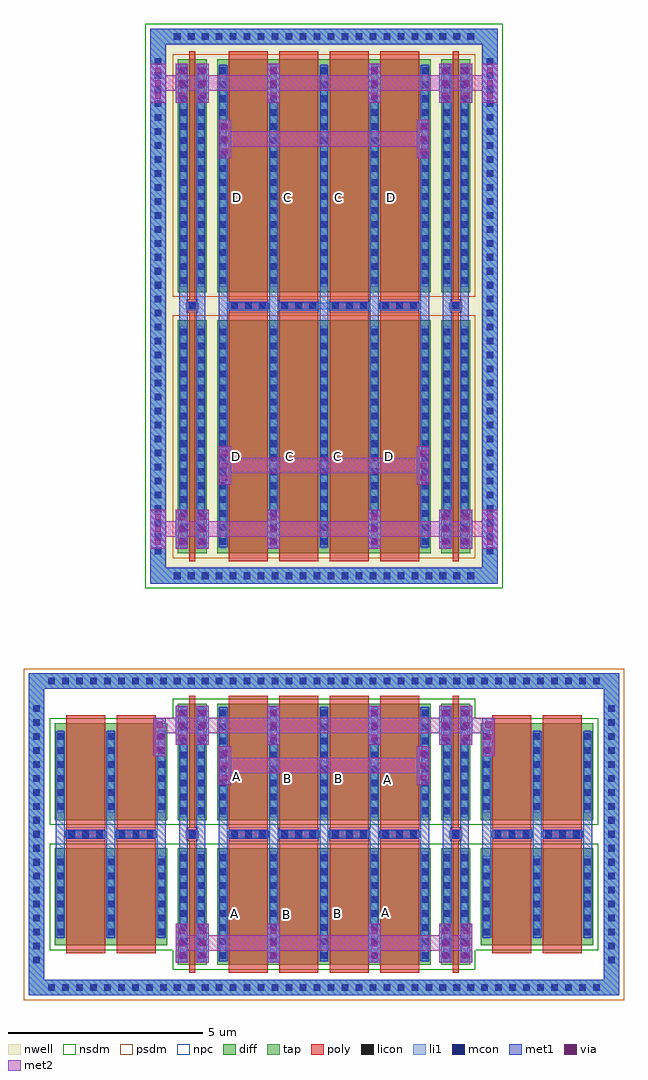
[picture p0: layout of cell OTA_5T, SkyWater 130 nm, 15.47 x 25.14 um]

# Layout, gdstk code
import gdstk
lib = gdstk.Library(unit=1e-6, precision=1e-09)
def R(c, l, rs):  # rectangles x0, y0, x1, y1
    for r in rs: c.add(gdstk.rectangle(r[:2], r[2:], *l))
def A(c, l, x, y, w, h, nx, ny, dx, dy):  # array of equal rectangles
    R(c, l, [(x+i*dx, y+j*dy, x+i*dx+w, y+j*dy+h) for i in range(nx) for j in range(ny)])
def P(c, l, *ps):  # polygons
    for p in ps: c.add(gdstk.Polygon(p, *l))
nwell = (64, 20)
diff = (65, 20)
tap = (65, 44)
poly = (66, 20)
licon = (66, 44)
li1 = (67, 20)
mcon = (67, 44)
met1 = (68, 20)
via = (68, 44)
met2 = (69, 20)
nsdm = (93, 44)
psdm = (94, 20)
npc = (95, 20)

pfet_3 = lib.new_cell('pfet$3')
R(pfet_3, nwell, [(-0.305,-0.72,1.905,6.38)])
R(pfet_3, diff, [(0,0,1.6,6)])
R(pfet_3, poly, [(0.3,-0.53,1.3,-0.2), (0.3,-0.2,1.3,6.2)])
A(pfet_3, licon, 0.355, -0.45, 0.17, 0.17, 3, 1, 0.36, 0)
A(pfet_3, licon, 0.065, 0.215, 0.17, 0.17, 1, 16, 0, 0.36)
A(pfet_3, licon, 1.365, 0.215, 0.17, 0.17, 1, 16, 0, 0.36)
R(pfet_3, li1, [(0.275,-0.45,1.325,-0.28), (0.065,0.135,0.235,5.865), (1.365,0.135,1.535,5.865)])
A(pfet_3, mcon, 0.355, -0.45, 0.17, 0.17, 3, 1, 0.36, 0)
A(pfet_3, mcon, 0.065, 0.215, 0.17, 0.17, 1, 16, 0, 0.36)
A(pfet_3, mcon, 1.365, 0.215, 0.17, 0.17, 1, 16, 0, 0.36)
R(pfet_3, met1, [(0.295,-0.48,1.305,-0.25), (0.035,0.155,0.265,5.845), (1.335,0.155,1.565,5.845)])
R(pfet_3, psdm, [(-0.125,-0.125,1.725,6.125)])
R(pfet_3, npc, [(0.29,-0.54,1.31,-0.19)])

pfet_2 = lib.new_cell('pfet$2')
R(pfet_2, nwell, [(-0.305,-0.72,1.055,6.38)])
R(pfet_2, diff, [(0,0,0.75,6)])
R(pfet_2, poly, [(0.24,-0.53,0.51,-0.2), (0.3,-0.2,0.45,6.2)])
A(pfet_2, licon, 0.065, 0.215, 0.17, 0.17, 1, 16, 0, 0.36)
A(pfet_2, licon, 0.515, 0.215, 0.17, 0.17, 1, 16, 0, 0.36)
R(pfet_2, licon, [(0.29,-0.45,0.46,-0.28)])
R(pfet_2, li1, [(0.21,-0.45,0.54,-0.28), (0.065,0.135,0.235,5.865), (0.515,0.135,0.685,5.865)])
A(pfet_2, mcon, 0.065, 0.215, 0.17, 0.17, 1, 16, 0, 0.36)
A(pfet_2, mcon, 0.515, 0.215, 0.17, 0.17, 1, 16, 0, 0.36)
R(pfet_2, mcon, [(0.29,-0.45,0.46,-0.28)])
R(pfet_2, met1, [(0.19,-0.48,0.56,-0.25), (0.035,0.155,0.265,5.845), (0.485,0.155,0.715,5.845)])
R(pfet_2, psdm, [(-0.125,-0.125,0.875,6.125)])
R(pfet_2, npc, [(0.23,-0.54,0.52,-0.19)])

nfet_3 = lib.new_cell('nfet$3')
R(nfet_3, diff, [(0,0,1.6,3)])
R(nfet_3, poly, [(0.3,-0.53,1.3,-0.2), (0.3,-0.2,1.3,3.2)])
A(nfet_3, licon, 0.355, -0.45, 0.17, 0.17, 3, 1, 0.36, 0)
A(nfet_3, licon, 0.065, 0.155, 0.17, 0.17, 1, 8, 0, 0.36)
A(nfet_3, licon, 1.365, 0.155, 0.17, 0.17, 1, 8, 0, 0.36)
R(nfet_3, li1, [(0.275,-0.45,1.325,-0.28), (0.065,0.075,0.235,2.925), (1.365,0.075,1.535,2.925)])
A(nfet_3, mcon, 0.355, -0.45, 0.17, 0.17, 3, 1, 0.36, 0)
A(nfet_3, mcon, 0.065, 0.155, 0.17, 0.17, 1, 8, 0, 0.36)
A(nfet_3, mcon, 1.365, 0.155, 0.17, 0.17, 1, 8, 0, 0.36)
R(nfet_3, met1, [(0.295,-0.48,1.305,-0.25), (0.035,0.095,0.265,2.905), (1.335,0.095,1.565,2.905)])
R(nfet_3, nsdm, [(-0.125,-0.125,1.725,3.125)])
R(nfet_3, npc, [(0.29,-0.54,1.31,-0.19)])

nfet_2 = lib.new_cell('nfet$2')
R(nfet_2, diff, [(0,0,0.75,3)])
R(nfet_2, poly, [(0.24,-0.53,0.51,-0.2), (0.3,-0.2,0.45,3.2)])
A(nfet_2, licon, 0.065, 0.155, 0.17, 0.17, 1, 8, 0, 0.36)
A(nfet_2, licon, 0.515, 0.155, 0.17, 0.17, 1, 8, 0, 0.36)
R(nfet_2, licon, [(0.29,-0.45,0.46,-0.28)])
R(nfet_2, li1, [(0.21,-0.45,0.54,-0.28), (0.065,0.075,0.235,2.925), (0.515,0.075,0.685,2.925)])
A(nfet_2, mcon, 0.065, 0.155, 0.17, 0.17, 1, 8, 0, 0.36)
A(nfet_2, mcon, 0.515, 0.155, 0.17, 0.17, 1, 8, 0, 0.36)
R(nfet_2, mcon, [(0.29,-0.45,0.46,-0.28)])
R(nfet_2, met1, [(0.19,-0.48,0.56,-0.25), (0.035,0.095,0.265,2.905), (0.485,0.095,0.715,2.905)])
R(nfet_2, nsdm, [(-0.125,-0.125,0.875,3.125)])
R(nfet_2, npc, [(0.23,-0.54,0.52,-0.19)])

nfet_1 = lib.new_cell('nfet$1')
R(nfet_1, diff, [(0,0,0.75,3)])
R(nfet_1, poly, [(0.3,-0.2,0.45,3.2), (0.24,3.2,0.51,3.53)])
A(nfet_1, licon, 0.065, 0.155, 0.17, 0.17, 1, 8, 0, 0.36)
A(nfet_1, licon, 0.515, 0.155, 0.17, 0.17, 1, 8, 0, 0.36)
R(nfet_1, licon, [(0.29,3.28,0.46,3.45)])
R(nfet_1, li1, [(0.065,0.075,0.235,2.925), (0.515,0.075,0.685,2.925), (0.21,3.28,0.54,3.45)])
A(nfet_1, mcon, 0.065, 0.155, 0.17, 0.17, 1, 8, 0, 0.36)
A(nfet_1, mcon, 0.515, 0.155, 0.17, 0.17, 1, 8, 0, 0.36)
R(nfet_1, mcon, [(0.29,3.28,0.46,3.45)])
R(nfet_1, met1, [(0.035,0.095,0.265,2.905), (0.485,0.095,0.715,2.905), (0.19,3.25,0.56,3.48)])
R(nfet_1, nsdm, [(-0.125,-0.125,0.875,3.125)])
R(nfet_1, npc, [(0.23,3.19,0.52,3.54)])

nfet = lib.new_cell('nfet')
R(nfet, diff, [(0,0,1.6,3)])
R(nfet, poly, [(0.3,-0.2,1.3,3.2), (0.3,3.2,1.3,3.53)])
A(nfet, licon, 0.065, 0.155, 0.17, 0.17, 1, 8, 0, 0.36)
A(nfet, licon, 1.365, 0.155, 0.17, 0.17, 1, 8, 0, 0.36)
A(nfet, licon, 0.355, 3.28, 0.17, 0.17, 3, 1, 0.36, 0)
R(nfet, li1, [(0.065,0.075,0.235,2.925), (1.365,0.075,1.535,2.925), (0.275,3.28,1.325,3.45)])
A(nfet, mcon, 0.065, 0.155, 0.17, 0.17, 1, 8, 0, 0.36)
A(nfet, mcon, 1.365, 0.155, 0.17, 0.17, 1, 8, 0, 0.36)
A(nfet, mcon, 0.355, 3.28, 0.17, 0.17, 3, 1, 0.36, 0)
R(nfet, met1, [(0.035,0.095,0.265,2.905), (1.335,0.095,1.565,2.905), (0.295,3.25,1.305,3.48)])
R(nfet, nsdm, [(-0.125,-0.125,1.725,3.125)])
R(nfet, npc, [(0.29,3.19,1.31,3.54)])

nfet_4 = lib.new_cell('nfet$4')
R(nfet_4, diff, [(0,0,1.6,2.5)])
R(nfet_4, poly, [(0.3,-0.53,1.3,-0.2), (0.3,-0.2,1.3,2.7)])
A(nfet_4, licon, 0.355, -0.45, 0.17, 0.17, 3, 1, 0.36, 0)
A(nfet_4, licon, 0.065, 0.265, 0.17, 0.17, 1, 6, 0, 0.36)
A(nfet_4, licon, 1.365, 0.265, 0.17, 0.17, 1, 6, 0, 0.36)
R(nfet_4, li1, [(0.275,-0.45,1.325,-0.28), (0.065,0.185,0.235,2.315), (1.365,0.185,1.535,2.315)])
A(nfet_4, mcon, 0.355, -0.45, 0.17, 0.17, 3, 1, 0.36, 0)
A(nfet_4, mcon, 0.065, 0.265, 0.17, 0.17, 1, 6, 0, 0.36)
A(nfet_4, mcon, 1.365, 0.265, 0.17, 0.17, 1, 6, 0, 0.36)
R(nfet_4, met1, [(0.295,-0.48,1.305,-0.25), (0.035,0.205,0.265,2.295), (1.335,0.205,1.565,2.295)])
R(nfet_4, nsdm, [(-0.125,-0.125,1.725,2.625)])
R(nfet_4, npc, [(0.29,-0.54,1.31,-0.19)])

pfet_1 = lib.new_cell('pfet$1')
R(pfet_1, nwell, [(-0.305,-0.38,1.055,6.72)])
R(pfet_1, diff, [(0,0,0.75,6)])
R(pfet_1, poly, [(0.3,-0.2,0.45,6.2), (0.24,6.2,0.51,6.53)])
A(pfet_1, licon, 0.065, 0.215, 0.17, 0.17, 1, 16, 0, 0.36)
A(pfet_1, licon, 0.515, 0.215, 0.17, 0.17, 1, 16, 0, 0.36)
R(pfet_1, licon, [(0.29,6.28,0.46,6.45)])
R(pfet_1, li1, [(0.065,0.135,0.235,5.865), (0.515,0.135,0.685,5.865), (0.21,6.28,0.54,6.45)])
A(pfet_1, mcon, 0.065, 0.215, 0.17, 0.17, 1, 16, 0, 0.36)
A(pfet_1, mcon, 0.515, 0.215, 0.17, 0.17, 1, 16, 0, 0.36)
R(pfet_1, mcon, [(0.29,6.28,0.46,6.45)])
R(pfet_1, met1, [(0.035,0.155,0.265,5.845), (0.485,0.155,0.715,5.845), (0.19,6.25,0.56,6.48)])
R(pfet_1, psdm, [(-0.125,-0.125,0.875,6.125)])
R(pfet_1, npc, [(0.23,6.19,0.52,6.54)])

pfet = lib.new_cell('pfet')
R(pfet, nwell, [(-0.305,-0.38,1.905,6.72)])
R(pfet, diff, [(0,0,1.6,6)])
R(pfet, poly, [(0.3,-0.2,1.3,6.2), (0.3,6.2,1.3,6.53)])
A(pfet, licon, 0.065, 0.215, 0.17, 0.17, 1, 16, 0, 0.36)
A(pfet, licon, 1.365, 0.215, 0.17, 0.17, 1, 16, 0, 0.36)
A(pfet, licon, 0.355, 6.28, 0.17, 0.17, 3, 1, 0.36, 0)
R(pfet, li1, [(0.065,0.135,0.235,5.865), (1.365,0.135,1.535,5.865), (0.275,6.28,1.325,6.45)])
A(pfet, mcon, 0.065, 0.215, 0.17, 0.17, 1, 16, 0, 0.36)
A(pfet, mcon, 1.365, 0.215, 0.17, 0.17, 1, 16, 0, 0.36)
A(pfet, mcon, 0.355, 6.28, 0.17, 0.17, 3, 1, 0.36, 0)
R(pfet, met1, [(0.035,0.155,0.265,5.845), (1.335,0.155,1.565,5.845), (0.295,6.25,1.305,6.48)])
R(pfet, psdm, [(-0.125,-0.125,1.725,6.125)])
R(pfet, npc, [(0.29,6.19,1.31,6.54)])

guard_ring_gen = lib.new_cell('guard_ring_gen')
P(guard_ring_gen, tap, [(-0.4,-0.4),(-0.4,13.49),(0,13.49),(0,0),(8.15,0),(8.15,13.49),(-0.4,13.49),(-0.4,13.89),(8.55,13.89),(8.55,-0.4)])
A(guard_ring_gen, licon, 0.21, -0.285, 0.17, 0.17, 22, 2, 0.36, 13.89)
A(guard_ring_gen, licon, -0.285, 0.36, 0.17, 0.17, 1, 36, 0, 0.36)
A(guard_ring_gen, licon, 8.265, 0.36, 0.17, 0.17, 1, 36, 0, 0.36)
P(guard_ring_gen, li1, [(-0.4,-0.4),(-0.4,13.49),(0,13.49),(0,0),(8.15,0),(8.15,13.49),(-0.4,13.49),(-0.4,13.89),(8.55,13.89),(8.55,-0.4)])
A(guard_ring_gen, mcon, 0.21, -0.285, 0.17, 0.17, 22, 2, 0.36, 13.89)
A(guard_ring_gen, mcon, -0.285, 0.36, 0.17, 0.17, 1, 36, 0, 0.36)
A(guard_ring_gen, mcon, 8.265, 0.36, 0.17, 0.17, 1, 36, 0, 0.36)
P(guard_ring_gen, met1, [(-0.4,-0.4),(-0.4,13.49),(0,13.49),(0,0),(8.15,0),(8.15,13.49),(-0.4,13.49),(-0.4,13.89),(8.55,13.89),(8.55,-0.4)])
P(guard_ring_gen, nsdm, [(-0.525,-0.525),(-0.525,13.365),(0.125,13.365),(0.125,0.125),(8.025,0.125),(8.025,13.365),(-0.525,13.365),(-0.525,14.015),(8.675,14.015),(8.675,-0.525)])

nfet_5 = lib.new_cell('nfet$5')
R(nfet_5, diff, [(0,0,1.6,2.5)])
R(nfet_5, poly, [(0.3,-0.2,1.3,2.7), (0.3,2.7,1.3,3.03)])
A(nfet_5, licon, 0.065, 0.265, 0.17, 0.17, 1, 6, 0, 0.36)
A(nfet_5, licon, 1.365, 0.265, 0.17, 0.17, 1, 6, 0, 0.36)
A(nfet_5, licon, 0.355, 2.78, 0.17, 0.17, 3, 1, 0.36, 0)
R(nfet_5, li1, [(0.065,0.185,0.235,2.315), (1.365,0.185,1.535,2.315), (0.275,2.78,1.325,2.95)])
A(nfet_5, mcon, 0.065, 0.265, 0.17, 0.17, 1, 6, 0, 0.36)
A(nfet_5, mcon, 1.365, 0.265, 0.17, 0.17, 1, 6, 0, 0.36)
A(nfet_5, mcon, 0.355, 2.78, 0.17, 0.17, 3, 1, 0.36, 0)
R(nfet_5, met1, [(0.035,0.205,0.265,2.295), (1.335,0.205,1.565,2.295), (0.295,2.75,1.305,2.98)])
R(nfet_5, nsdm, [(-0.125,-0.125,1.725,2.625)])
R(nfet_5, npc, [(0.29,2.69,1.31,3.04)])

guard_ring_gen_3 = lib.new_cell('guard_ring_gen$3')
P(guard_ring_gen_3, tap, [(-0.4,-0.4),(-0.4,7.49),(0,7.49),(0,0),(14.42,0),(14.42,7.49),(-0.4,7.49),(-0.4,7.89),(14.82,7.89),(14.82,-0.4)])
A(guard_ring_gen_3, licon, 0.105, -0.285, 0.17, 0.17, 40, 2, 0.36, 7.89)
A(guard_ring_gen_3, licon, -0.285, 0.42, 0.17, 0.17, 1, 19, 0, 0.36)
A(guard_ring_gen_3, licon, 14.535, 0.42, 0.17, 0.17, 1, 19, 0, 0.36)
P(guard_ring_gen_3, li1, [(-0.4,-0.4),(-0.4,7.49),(0,7.49),(0,0),(14.42,0),(14.42,7.49),(-0.4,7.49),(-0.4,7.89),(14.82,7.89),(14.82,-0.4)])
A(guard_ring_gen_3, mcon, 0.105, -0.285, 0.17, 0.17, 40, 2, 0.36, 7.89)
A(guard_ring_gen_3, mcon, -0.285, 0.42, 0.17, 0.17, 1, 19, 0, 0.36)
A(guard_ring_gen_3, mcon, 14.535, 0.42, 0.17, 0.17, 1, 19, 0, 0.36)
P(guard_ring_gen_3, met1, [(-0.4,-0.4),(-0.4,7.49),(0,7.49),(0,0),(14.42,0),(14.42,7.49),(-0.4,7.49),(-0.4,7.89),(14.82,7.89),(14.82,-0.4)])
P(guard_ring_gen_3, psdm, [(-0.525,-0.525),(-0.525,7.365),(0.125,7.365),(0.125,0.125),(14.295,0.125),(14.295,7.365),(-0.525,7.365),(-0.525,8.015),(14.945,8.015),(14.945,-0.525)])

vias_gen = lib.new_cell('vias_gen')
R(vias_gen, met1, [(0,0,0.32,1)])
A(vias_gen, via, 0.085, 0.105, 0.15, 0.15, 1, 3, 0, 0.32)
R(vias_gen, met2, [(0,0,0.32,1)])

vias_gen_1 = lib.new_cell('vias_gen$1')
R(vias_gen_1, met1, [(0,0,0.4,1)])
A(vias_gen_1, via, 0.125, 0.105, 0.15, 0.15, 1, 3, 0, 0.32)
R(vias_gen_1, met2, [(0,0,0.4,1)])

ota_5t = lib.new_cell('OTA_5T')
R(ota_5t, nsdm, [(-3.955,2.425,3.945,15.665)])
R(ota_5t, psdm, [(-7.09,-8.18,7.08,-0.94)])
ota_5t.add(gdstk.FlexPath([(-2.605,8.525),(-2.605,9.565)], 0.23, ends="flush", simple_path=True, layer=68, datatype=20))  # met1
ota_5t.add(gdstk.FlexPath([(-0.005,8.525),(-0.005,9.565)], 0.23, ends="flush", simple_path=True, layer=68, datatype=20))  # met1
ota_5t.add(gdstk.FlexPath([(2.595,8.525),(2.595,9.565)], 0.23, ends="flush", simple_path=True, layer=68, datatype=20))  # met1
ota_5t.add(gdstk.FlexPath([(-1.305,9.565),(-1.305,8.525)], 0.23, ends="flush", simple_path=True, layer=68, datatype=20))  # met1
ota_5t.add(gdstk.FlexPath([(1.295,9.565),(1.295,8.525)], 0.23, ends="flush", simple_path=True, layer=68, datatype=20))  # met1
ota_5t.add(gdstk.FlexPath([(-3.625,-4.1),(-3.625,-5.02)], 0.23, ends="flush", simple_path=True, layer=68, datatype=20))  # met1
ota_5t.add(gdstk.FlexPath([(-3.175,-4.1),(-3.175,-5.02)], 0.23, ends="flush", simple_path=True, layer=68, datatype=20))  # met1
ota_5t.add(gdstk.FlexPath([(-2.605,-4.1),(-2.605,-5.02)], 0.23, ends="flush", simple_path=True, layer=68, datatype=20))  # met1
ota_5t.add(gdstk.FlexPath([(-1.305,-4.1),(-1.305,-5.02)], 0.23, ends="flush", simple_path=True, layer=68, datatype=20))  # met1
ota_5t.add(gdstk.FlexPath([(-0.005,-4.1),(-0.005,-5.02)], 0.23, ends="flush", simple_path=True, layer=68, datatype=20))  # met1
ota_5t.add(gdstk.FlexPath([(1.295,-4.1),(1.295,-5.02)], 0.23, ends="flush", simple_path=True, layer=68, datatype=20))  # met1
ota_5t.add(gdstk.FlexPath([(2.595,-4.1),(2.595,-5.02)], 0.23, ends="flush", simple_path=True, layer=68, datatype=20))  # met1
ota_5t.add(gdstk.FlexPath([(4.185,-3.99),(4.185,-5.13)], 0.23, ends="flush", simple_path=True, layer=68, datatype=20))  # met1
ota_5t.add(gdstk.FlexPath([(5.485,-3.99),(5.485,-5.13)], 0.23, ends="flush", simple_path=True, layer=68, datatype=20))  # met1
ota_5t.add(gdstk.FlexPath([(6.785,-3.99),(6.785,-5.13)], 0.23, ends="flush", simple_path=True, layer=68, datatype=20))  # met1
ota_5t.add(gdstk.FlexPath([(3.165,-4.1),(3.165,-5.02)], 0.23, ends="flush", simple_path=True, layer=68, datatype=20))  # met1
ota_5t.add(gdstk.FlexPath([(3.615,-4.1),(3.615,-5.02)], 0.23, ends="flush", simple_path=True, layer=68, datatype=20))  # met1
ota_5t.add(gdstk.FlexPath([(-4.195,-3.99),(-4.195,-5.13)], 0.23, ends="flush", simple_path=True, layer=68, datatype=20))  # met1
ota_5t.add(gdstk.FlexPath([(-5.495,-3.99),(-5.495,-5.13)], 0.23, ends="flush", simple_path=True, layer=68, datatype=20))  # met1
ota_5t.add(gdstk.FlexPath([(-6.795,-3.99),(-6.795,-5.13)], 0.23, ends="flush", simple_path=True, layer=68, datatype=20))  # met1
ota_5t.add(gdstk.FlexPath([(3.165,8.525),(3.165,9.565)], 0.23, ends="flush", simple_path=True, layer=68, datatype=20))  # met1
ota_5t.add(gdstk.FlexPath([(3.615,8.525),(3.615,9.565)], 0.23, ends="flush", simple_path=True, layer=68, datatype=20))  # met1
ota_5t.add(gdstk.FlexPath([(-3.175,8.525),(-3.175,9.565)], 0.23, ends="flush", simple_path=True, layer=68, datatype=20))  # met1
ota_5t.add(gdstk.FlexPath([(-3.625,9.565),(-3.625,8.525)], 0.23, ends="flush", simple_path=True, layer=68, datatype=20))  # met1
ota_5t.add(gdstk.FlexPath([(-4.48,14.79),(4.47,14.79)], 0.4, ends="flush", simple_path=True, layer=69, datatype=20))  # met2
ota_5t.add(gdstk.FlexPath([(-4.48,3.3),(4.47,3.3)], 0.4, ends="flush", simple_path=True, layer=69, datatype=20))  # met2
ota_5t.add(gdstk.FlexPath([(-4.08,-1.755),(4.07,-1.755)], 0.4, ends="flush", simple_path=True, layer=69, datatype=20))  # met2
ota_5t.add(gdstk.FlexPath([(-3.83,-7.365),(3.82,-7.365)], 0.4, ends="flush", simple_path=True, layer=69, datatype=20))  # met2
ota_5t.add(gdstk.FlexPath([(-2.4,13.35),(2.39,13.35)], 0.4, ends="flush", simple_path=True, layer=69, datatype=20))  # met2
ota_5t.add(gdstk.FlexPath([(-2.4,4.94),(2.39,4.94)], 0.4, ends="flush", simple_path=True, layer=69, datatype=20))  # met2
ota_5t.add(gdstk.FlexPath([(-2.4,-2.79),(2.39,-2.79)], 0.4, ends="flush", simple_path=True, layer=69, datatype=20))  # met2
ota_5t.add(gdstk.FlexPath([(-0.13,9.045),(0.12,9.045)], 0.17, ends="flush", simple_path=True, layer=67, datatype=20))  # li1
ota_5t.add(gdstk.Reference(pfet_3, (-1.455,9.41)))
ota_5t.add(gdstk.Reference(pfet_2, (-3.775,9.41)))
ota_5t.add(gdstk.Reference(pfet_3, (-0.155,9.41)))
ota_5t.add(gdstk.Reference(nfet_3, (-0.155,-4.195)))
ota_5t.add(gdstk.Reference(nfet_3, (1.145,-4.195)))
ota_5t.add(gdstk.Reference(nfet_3, (-2.755,-4.195)))
ota_5t.add(gdstk.Reference(nfet_3, (-1.455,-4.195)))
ota_5t.add(gdstk.Reference(nfet_2, (-3.775,-4.195)))
ota_5t.add(gdstk.Reference(nfet_1, (-3.775,-7.925)))
ota_5t.add(gdstk.Reference(nfet_1, (3.015,-7.925)))
ota_5t.add(gdstk.Reference(nfet, (-1.455,-7.925)))
ota_5t.add(gdstk.Reference(nfet, (-2.755,-7.925)))
ota_5t.add(gdstk.Reference(nfet, (1.145,-7.925)))
ota_5t.add(gdstk.Reference(nfet, (-0.155,-7.925)))
ota_5t.add(gdstk.Reference(nfet_4, (-6.945,-4.195)))
ota_5t.add(gdstk.Reference(nfet_4, (-5.645,-4.195)))
ota_5t.add(gdstk.Reference(pfet_2, (3.015,9.41)))
ota_5t.add(gdstk.Reference(pfet_3, (-2.755,9.41)))
ota_5t.add(gdstk.Reference(pfet_1, (-3.775,2.68)))
ota_5t.add(gdstk.Reference(pfet, (-2.755,2.68)))
ota_5t.add(gdstk.Reference(pfet_1, (3.015,2.68)))
ota_5t.add(gdstk.Reference(pfet, (1.145,2.68)))
ota_5t.add(gdstk.Reference(pfet, (-1.455,2.68)))
ota_5t.add(gdstk.Reference(pfet, (-0.155,2.68)))
ota_5t.add(gdstk.Reference(nfet_2, (3.015,-4.195)))
ota_5t.add(gdstk.Reference(guard_ring_gen, (-4.08,2.3)))
ota_5t.add(gdstk.Reference(nfet_4, (4.035,-4.195)))
ota_5t.add(gdstk.Reference(nfet_4, (5.335,-4.195)))
ota_5t.add(gdstk.Reference(nfet_5, (4.035,-7.425)))
ota_5t.add(gdstk.Reference(nfet_5, (5.335,-7.425)))
ota_5t.add(gdstk.Reference(nfet_5, (-5.645,-7.425)))
ota_5t.add(gdstk.Reference(nfet_5, (-6.945,-7.425)))
ota_5t.add(gdstk.Reference(guard_ring_gen_3, (-7.215,-8.305)))
ota_5t.add(gdstk.Reference(pfet_3, (1.145,9.41)))
ota_5t.add(gdstk.Reference(vias_gen, (1.135,14.29)))
ota_5t.add(gdstk.Reference(vias_gen, (-1.465,14.29)))
ota_5t.add(gdstk.Reference(vias_gen, (2.96,14.29)))
ota_5t.add(gdstk.Reference(vias_gen, (-3.29,14.29)))
ota_5t.add(gdstk.Reference(vias_gen, (-3.83,14.29)))
ota_5t.add(gdstk.Reference(vias_gen, (3.5,14.29)))
ota_5t.add(gdstk.Reference(vias_gen, (1.135,2.8)))
ota_5t.add(gdstk.Reference(vias_gen, (-1.465,2.8)))
ota_5t.add(gdstk.Reference(vias_gen, (2.96,2.8)))
ota_5t.add(gdstk.Reference(vias_gen, (-3.29,2.8)))
ota_5t.add(gdstk.Reference(vias_gen, (-3.83,2.8)))
ota_5t.add(gdstk.Reference(vias_gen, (3.5,2.8)))
ota_5t.add(gdstk.Reference(vias_gen_1, (4.07,14.29)))
ota_5t.add(gdstk.Reference(vias_gen_1, (-4.48,2.8)))
ota_5t.add(gdstk.Reference(vias_gen_1, (4.07,2.8)))
ota_5t.add(gdstk.Reference(vias_gen_1, (-4.48,14.29)))
ota_5t.add(gdstk.Reference(vias_gen, (1.135,-2.255)))
ota_5t.add(gdstk.Reference(vias_gen, (-1.465,-2.255)))
ota_5t.add(gdstk.Reference(vias_gen, (2.96,-2.255)))
ota_5t.add(gdstk.Reference(vias_gen, (-3.29,-2.255)))
ota_5t.add(gdstk.Reference(vias_gen, (-3.83,-2.255)))
ota_5t.add(gdstk.Reference(vias_gen, (3.5,-2.255)))
ota_5t.add(gdstk.Reference(vias_gen, (1.135,-7.865)))
ota_5t.add(gdstk.Reference(vias_gen, (-1.465,-7.865)))
ota_5t.add(gdstk.Reference(vias_gen, (2.96,-7.865)))
ota_5t.add(gdstk.Reference(vias_gen, (-3.29,-7.865)))
ota_5t.add(gdstk.Reference(vias_gen, (-3.83,-7.865)))
ota_5t.add(gdstk.Reference(vias_gen, (3.5,-7.865)))
ota_5t.add(gdstk.Reference(vias_gen, (-2.72,12.85)))
ota_5t.add(gdstk.Reference(vias_gen, (2.39,12.85)))
ota_5t.add(gdstk.Reference(vias_gen, (-2.72,4.44)))
ota_5t.add(gdstk.Reference(vias_gen, (2.39,4.44)))
ota_5t.add(gdstk.Reference(vias_gen, (2.39,-3.29)))
ota_5t.add(gdstk.Reference(vias_gen, (-2.72,-3.29)))
ota_5t.add(gdstk.Reference(vias_gen, (4.07,-2.555)))
ota_5t.add(gdstk.Reference(vias_gen, (-4.4,-2.555)))
ota_5t.add(gdstk.Label('A', (-2.258,-3.08), layer=83, texttype=44))
ota_5t.add(gdstk.Label('B', (-0.979,-6.617), layer=83, texttype=44))
ota_5t.add(gdstk.Label('D', (-2.264,5.183), layer=83, texttype=44))
ota_5t.add(gdstk.Label('B', (-0.939,-3.111), layer=83, texttype=44))
ota_5t.add(gdstk.Label('C', (-0.894,5.183), layer=83, texttype=44))
ota_5t.add(gdstk.Label('C', (0.336,5.183), layer=83, texttype=44))
ota_5t.add(gdstk.Label('D', (1.676,5.183), layer=83, texttype=44))
ota_5t.add(gdstk.Label('B', (0.333,-6.605), layer=83, texttype=44))
ota_5t.add(gdstk.Label('B', (0.378,-3.125), layer=83, texttype=44))
ota_5t.add(gdstk.Label('C', (-0.947,11.839), layer=83, texttype=44))
ota_5t.add(gdstk.Label('A', (1.636,-3.157), layer=83, texttype=44))
ota_5t.add(gdstk.Label('A', (-2.303,-6.601), layer=83, texttype=44))
ota_5t.add(gdstk.Label('A', (1.591,-6.588), layer=83, texttype=44))
ota_5t.add(gdstk.Label('C', (0.373,11.839), layer=83, texttype=44))
ota_5t.add(gdstk.Label('D', (1.723,11.839), layer=83, texttype=44))
ota_5t.add(gdstk.Label('D', (-2.237,11.839), layer=83, texttype=44))

lib.write_gds('OTA_5T.gds')
